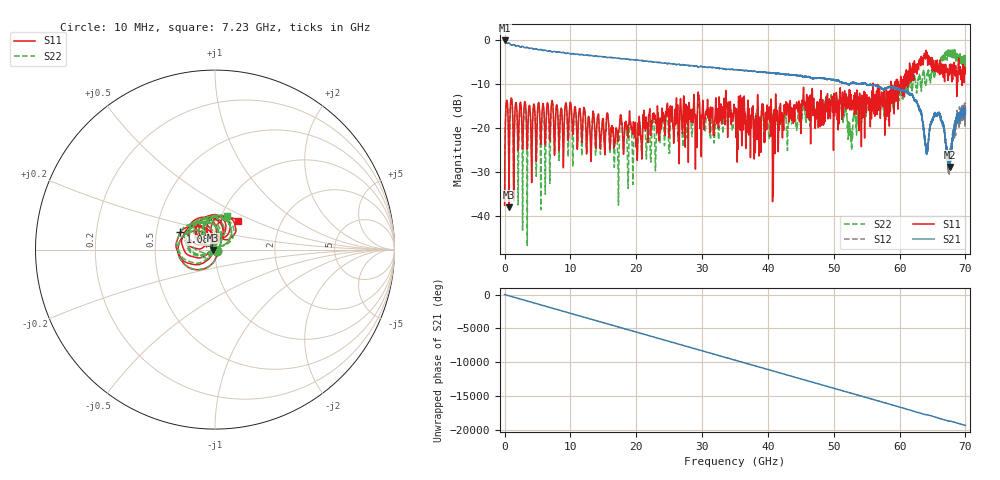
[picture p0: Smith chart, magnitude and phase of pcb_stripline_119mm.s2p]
! 8/9/2025 3:00:00 PM
! This is a measured stripline on PCB, 119mm in length. Structure: VNA->COAX->stripline->COAX->VNA
! CHANNEL.1
! TR.MEASUREMENT
! CORRECTED.DATA
! RF.CORRECTION: FULL.FOUR.PORT.CAL.PORT.1.2.3.4
! AVERAGING.OFF
! IF.BANDWIDTH: 1KHZ
! SWEEPTYPE:  FREQ.SWEEP(Linear)
! Reference Plane Port Info
! PORT:  PORT1  PORT2
! DISTANCE:  0  m  0  m
! TIME:  0  s  0  s
! PHASE.OFFSET:  0  deg.  0  deg.
! LOSS:  0  dB  0  dB
! REF.LOSS:  0  dB  0  dB
! REF.FREQ:  0  Hz  0  Hz
! Power Info
! POWER:  -10  dBm  -10  dBm
! EFF.POWER:  -10  dBm  -10  dBm
! SOURCE.ATTEN:  0  dB  0  dB
! TEST.ATTEN:  0  dB  0  dB
! PORTZ: Port1:50 Port2:50
# GHZ S RI R 50
! FREQ.GHZ  S11RE  S11IM  S21RE  S21IM  S12RE  S12IM  S22RE  S22IM
!; PortSelection: Port_12 (1-->1,2-->2)
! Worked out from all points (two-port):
!   7000 points, 10 MHz to 70 GHz, reference 50 ohm
!   highest |S21| = -0.11 dB at 10 MHz (marker M1); lowest = -28.8 dB at 67.6 GHz (marker M2)
!   |S21| within 3 dB of the highest: start of sweep to 9.89 GHz; 10.23 GHz to 10.43 GHz (207.6 MHz wide, 2.01 % of centre)
!   lowest |S11| = -38.0 dB at 680 MHz (marker M3), VSWR 1.03, Z = 48.8 - j0.21 ohm
!   |S11| at or under -10 dB: start of sweep to 55.97 GHz; 56 GHz to 58.66 GHz (2.66 GHz wide, 4.64 % of centre); 58.7 GHz to 59.26 GHz (559.6 MHz wide, 0.949 % of centre)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
!   |S22| runs from -46.8 to -2.2 dB; largest |S21 - S12| = 0.078
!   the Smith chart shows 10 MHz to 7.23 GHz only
!   S11 on the Smith chart (normalised r, x): 10 MHz: 1.02, -0.01; 1.08 GHz: 0.67, +0.14; 7.23 GHz: 1.23, +0.41
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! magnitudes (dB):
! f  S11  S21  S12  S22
! 10 MHz  -37.5  -0.1  -0.1  -35.8
! 280 MHz  -14.1  -0.6  -0.6  -14.1
! 680 MHz  -38.0  -0.7  -0.7  -37.2
! 1.08 GHz  -13.3  -1.2  -1.2  -13.4
! 7.23 GHz  -13.8  -2.7  -2.7  -14.0
! 11.68 GHz  -21.6  -3.3  -3.3  -23.5
! 15.61 GHz  -16.6  -4.0  -4.0  -16.6
! 17.01 GHz  -20.3  -4.1  -4.1  -21.3
! 17.75 GHz  -18.1  -4.3  -4.3  -18.2
! 23.34 GHz  -16.6  -5.1  -5.1  -17.7
! 35.01 GHz  -16.4  -6.8  -6.8  -15.5
! 40.2 GHz  -15.2  -7.4  -7.4  -22.3
! 40.75 GHz  -27.1  -7.5  -7.4  -16.9
! 46.67 GHz  -15.9  -8.6  -8.7  -16.1
! 50.68 GHz  -20.4  -9.2  -9.3  -15.6
! 52.52 GHz  -11.7  -10.0  -10.0  -20.2
! 58.34 GHz  -18.0  -10.7  -10.6  -15.5
! 62.23 GHz  -5.2  -13.4  -13.6  -8.5
! 64.09 GHz  -3.7  -25.9  -24.2  -9.5
! 65.91 GHz  -6.9  -16.6  -16.8  -5.8
! 67.6 GHz  -6.1  -28.8  -27.8  -3.4
! 70 GHz  -6.4  -16.8  -14.2  -4.4
